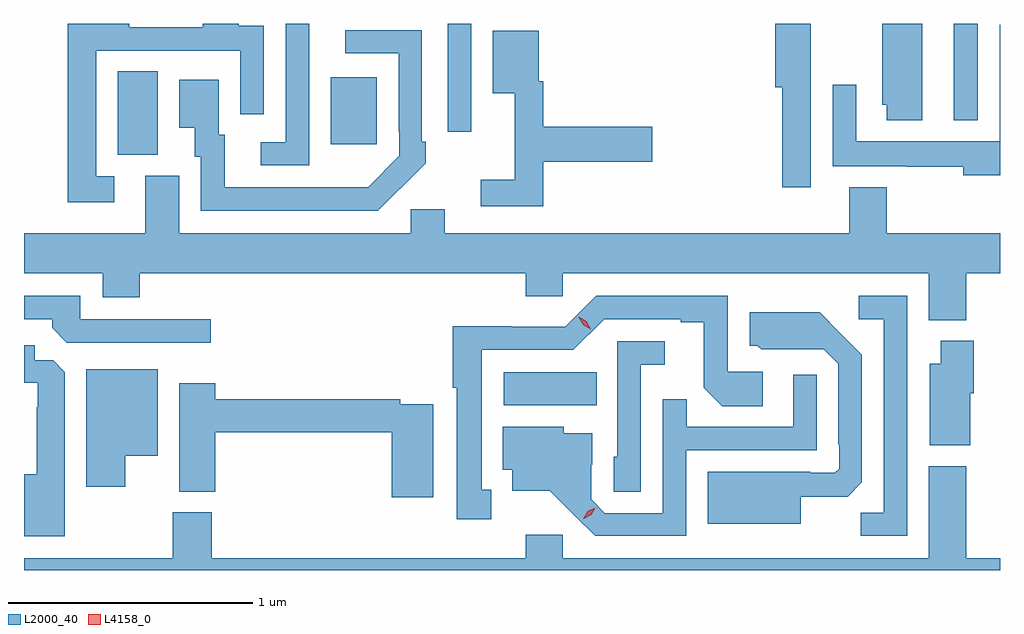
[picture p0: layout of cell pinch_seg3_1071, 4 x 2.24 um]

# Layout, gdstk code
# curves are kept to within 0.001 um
import gdstk
lib = gdstk.Library(unit=1e-6, precision=1e-09)
def R(c, l, rs):  # rectangles x0, y0, x1, y1
    for r in rs: c.add(gdstk.rectangle(r[:2], r[2:], *l))
def P(c, l, *ps):  # polygons
    for p in ps: c.add(gdstk.Polygon(p, *l))
L2000_40 = (2000, 40)
L4158_0 = (4158, 0)

pinch_seg3_1071 = lib.new_cell('pinch_seg3_1071')
R(pinch_seg3_1071, L2000_40, [(325.632,667.076,326.012,667.21), (324.05,668.101,324.214,668.444), (324.923,668.145,325.111,668.419), (325.401,668.196,325.497,668.638), (327.476,668.243,327.573,668.638)])
P(pinch_seg3_1071, L2000_40, [(324.034,668.013),(323.961,668.013),(323.961,668.529),(324.552,668.529),(324.552,668.268),(324.648,668.268),(324.648,668.522),(324.647,668.522),(324.647,668.631),(324.545,668.631),(324.545,668.638),(324.397,668.638),(324.397,668.625),(324.097,668.625),(324.097,668.638),(323.845,668.638),(323.845,667.908),(324.034,667.908)],
  [(327.346,668.638),(327.182,668.638),(327.182,668.307),(327.2,668.307),(327.2,668.244),(327.346,668.244)],
  [(324.834,668.515),(324.835,668.515),(324.835,668.638),(324.738,668.638),(324.738,668.154),(324.636,668.154),(324.636,668.058),(324.834,668.058)],
  [(326.889,668.482),(326.89,668.482),(326.89,668.638),(326.744,668.638),(326.744,668.378),(326.773,668.378),(326.773,667.968),(326.889,667.968)],
  [(327.665,668.635),(327.663,668.635),(327.663,668.158),(327.075,668.158),(327.075,668.389),(326.979,668.389),(326.979,668.054),(327.283,668.054),(327.283,668.052),(327.515,668.052),(327.515,668.018),(327.665,668.018)],
  [(325.205,667.963),(325.206,667.962),(325.311,668.067),(325.311,668.155),(325.296,668.155),(325.296,668.613),(324.981,668.613),(324.981,668.517),(325.2,668.517),(325.2,668.197),(325.203,668.197),(325.203,668.097),(325.075,667.969),(324.487,667.968),(324.487,668.184),(324.463,668.184),(324.463,668.41),(324.302,668.41),(324.302,668.213),(324.365,668.213),(324.365,668.094),(324.39,668.094),(324.39,667.872),(325.114,667.872)],
  [(325.793,668.074),(326.239,668.074),(326.239,668.216),(325.793,668.216),(325.793,668.403),(325.774,668.403),(325.774,668.611),(325.586,668.611),(325.586,668.354),(325.676,668.354),(325.676,667.999),(325.536,667.999),(325.536,667.89),(325.793,667.89)],
  [(327.527,667.616),(327.665,667.616),(327.665,667.78),(327.2,667.78),(327.2,667.969),(327.047,667.969),(327.047,667.78),(325.39,667.78),(325.39,667.878),(325.251,667.878),(325.251,667.78),(324.301,667.78),(324.301,668.016),(324.161,668.016),(324.161,667.78),(323.665,667.78),(323.665,667.616),(323.987,667.616),(323.987,667.517),(324.14,667.517),(324.14,667.616),(325.721,667.616),(325.721,667.523),(325.872,667.523),(325.872,667.616),(327.374,667.616),(327.374,667.424),(327.527,667.424)],
  [(324.43,667.428),(323.895,667.428),(323.895,667.524),(323.665,667.524),(323.665,667.428),(323.78,667.428),(323.78,667.394),(323.841,667.332),(324.43,667.332)],
  [(327.285,667.524),(327.087,667.524),(327.087,667.428),(327.189,667.428),(327.189,666.635),(327.094,666.635),(327.094,666.54),(327.285,666.54)],
  [(325.579,666.729),(325.54,666.729),(325.54,667.302),(325.917,667.302),(326.043,667.428),(326.357,667.428),(326.357,667.416),(326.451,667.416),(326.451,667.148),(326.527,667.072),(326.692,667.072),(326.692,667.212),(326.55,667.212),(326.55,667.524),(326.01,667.524),(325.884,667.398),(325.662,667.398),(325.662,667.4),(325.422,667.4),(325.422,667.147),(325.439,667.147),(325.439,666.609),(325.579,666.609)],
  [(326.848,666.701),(327.04,666.701),(327.099,666.76),(327.099,667.282),(326.927,667.456),(326.639,667.456),(326.639,667.32),(326.67,667.32),(326.686,667.304),(326.943,667.305),(327.003,667.245),(327.003,666.916),(327.006,666.916),(327.006,666.816),(326.988,666.798),(326.888,666.798),(326.888,666.802),(326.468,666.802),(326.468,666.59),(326.848,666.59)],
  [(327.544,667.125),(327.557,667.125),(327.557,667.339),(327.422,667.339),(327.422,667.246),(327.377,667.246),(327.377,666.911),(327.544,666.911)],
  [(326.193,667.241),(326.29,667.241),(326.29,667.338),(326.097,667.338),(326.097,666.864),(326.082,666.864),(326.082,666.721),(326.193,666.721)],
  [(323.833,667.211),(323.784,667.26),(323.71,667.26),(323.71,667.321),(323.665,667.321),(323.665,667.167),(323.721,667.167),(323.721,667.067),(323.717,667.067),(323.717,666.793),(323.665,666.793),(323.665,666.539),(323.833,666.539)],
  [(324.079,666.869),(324.214,666.869),(324.214,667.222),(323.921,667.222),(323.921,666.741),(324.079,666.741)],
  [(326.379,666.891),(326.913,666.891),(326.913,667.201),(326.817,667.201),(326.817,666.987),(326.381,666.987),(326.381,667.1),(326.283,667.1),(326.283,666.633),(326.046,666.633),(325.989,666.69),(325.989,666.832),(325.993,666.832),(325.993,666.961),(325.878,666.961),(325.878,666.988),(325.628,666.988),(325.628,666.812),(325.667,666.812),(325.667,666.725),(325.819,666.725),(326.006,666.54),(326.379,666.54)],
  [(325.342,667.08),(325.208,667.08),(325.208,667.1),(324.449,667.1),(324.449,667.165),(324.302,667.165),(324.302,666.721),(324.449,666.721),(324.449,666.964),(325.172,666.964),(325.172,666.699),(325.342,666.699)],
  [(327.665,666.448),(327.527,666.448),(327.527,666.826),(327.374,666.826),(327.374,666.448),(325.872,666.448),(325.872,666.544),(325.721,666.544),(325.721,666.448),(324.434,666.448),(324.434,666.636),(324.274,666.636),(324.274,666.448),(323.665,666.448),(323.665,666.4),(327.665,666.4)])
P(pinch_seg3_1071, L4158_0, [(325.958,666.61),(325.958,666.611),(325.976,666.64),(326.007,666.656),(326.007,666.656),(326.007,666.655),(325.99,666.626),(325.959,666.61)],
  [(325.988,667.387),(325.956,667.405),(325.938,667.437),(325.938,667.438),(325.939,667.438),(325.97,667.419),(325.988,667.387),(325.988,667.387)])

lib.write_gds('pinch_seg3_1071.gds')
